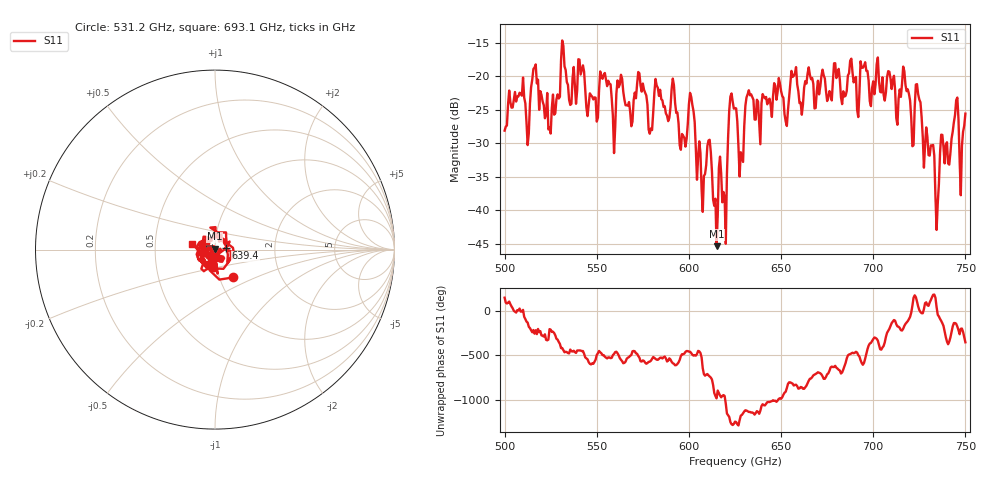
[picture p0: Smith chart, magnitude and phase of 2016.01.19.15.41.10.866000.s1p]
!Created with skrf (http://scikit-rf.org).
# GHz S RI R 50.0
!freq ReS11 ImS11
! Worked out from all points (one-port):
!   401 points, 500 GHz to 750 GHz, reference 50 ohm
!   lowest |S11| = -45.4 dB at 615 GHz (marker M1), VSWR 1.01, Z = 50 + j0.537 ohm
!   |S11| at or under -10 dB: start of sweep to end of sweep
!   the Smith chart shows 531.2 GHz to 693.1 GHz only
!   S11 on the Smith chart (normalised r, x): 531.2 GHz: 1.16, -0.37; 639.4 GHz: 1.13, +0.02; 693.1 GHz: 0.78, +0.05
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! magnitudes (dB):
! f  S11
! 500 GHz  -28.1
! 508.8 GHz  -22.6
! 512.5 GHz  -30.3
! 516.2 GHz  -18.7
! 525 GHz  -28.5
! 531.2 GHz  -14.6
! 559.4 GHz  -31.5
! 562.5 GHz  -21.2
! 593.8 GHz  -25.4
! 601.2 GHz  -23.1
! 607.5 GHz  -40.2
! 611.2 GHz  -29.5
! 615 GHz  -45.4
! 619.4 GHz  -38.0
! 622.5 GHz  -23.0
! 625 GHz  -24.7
! 628.1 GHz  -31.3
! 631.9 GHz  -22.7
! 639.4 GHz  -24.0
! 656.2 GHz  -20.1
! 687.5 GHz  -17.6
! 693.1 GHz  -17.7
! 718.8 GHz  -21.9
! 724.4 GHz  -22.7
! 734.4 GHz  -42.9
! 744.4 GHz  -25.8
! 748.1 GHz  -30.4
! 750 GHz  -25.6
